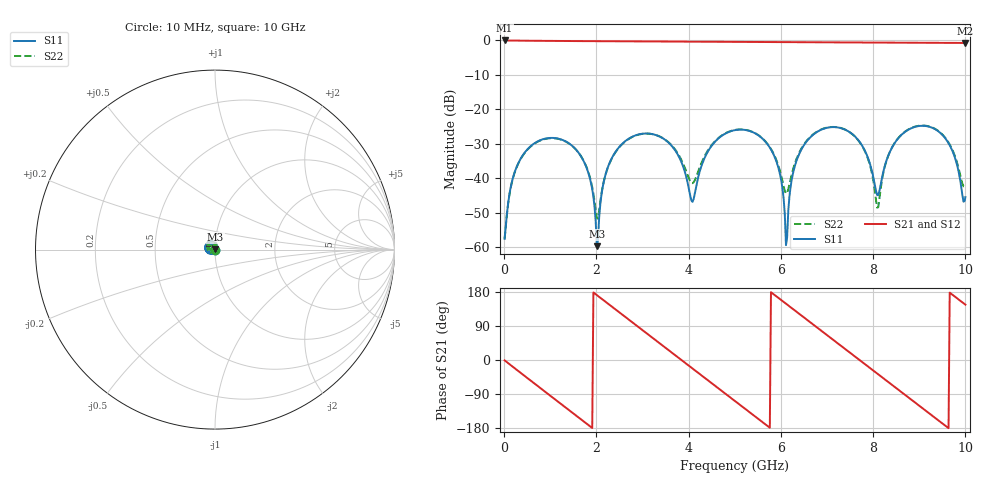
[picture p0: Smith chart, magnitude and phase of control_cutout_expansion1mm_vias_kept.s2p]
! Cutout equivalence validation - 38 mm 50 ohm symmetric stripline
! Case: Control: cutout, 1 mm expansion, stitching vias kept
! Solver: Ansys HFSS 3D Layout 2026 R1, broadband adaptive 1-5 GHz,
!  Delta S 0.02, interpolating sweep 10 MHz - 10 GHz
# GHz S MA R 50.000000
! Terminal data exported
! Port[1] = U1.PAD1.SIG
! Port[2] = U2.PAD1.SIG
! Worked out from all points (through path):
!   401 points, 10 MHz to 10 GHz, reference 50 ohm
!   highest |S21| = -0.01 dB at 10 MHz (marker M1); lowest = -0.7 dB at 10 GHz (marker M2)
!   group delay of S21, straight-line fit = 259 ps
!   lowest |S11| = -59.7 dB at 2.01 GHz (marker M3), VSWR 1.00, Z = 50.1 + j0.0618 ohm
!   |S11| at or under -10 dB: start of sweep to end of sweep
!   |S22| runs from -57.5 to -24.7 dB; largest |S21 - S12| = 2.9e-13
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0.01  0.001329 -12.1  0.9986 -1.0  0.9986 -1.0  0.001328 -12.1
0.21  0.01127 -90.5  0.9941 -20.0  0.9941 -20.0  0.01116 -91.9
0.56  0.0287 -132.3  0.9887 -53.0  0.9887 -53.0  0.0284 -135.9
1.11  0.03836 173.6  0.9821 -104.5  0.9821 -104.5  0.03801 167.6
1.685  0.01992 118.3  0.9771 -158.4  0.9771 -158.4  0.02001 114.6
2.01  0.001041 36.3  0.9744 171.2  0.9744 171.2  0.002634 148.1
2.435  0.02538 -127.3  0.9705 131.5  0.9705 131.5  0.02508 -150.0
3.36  0.04074 144.0  0.9625 45.1  0.9625 45.1  0.04083 130.0
4.085  0.004574 -12.6  0.9578 -22.6  0.9578 -22.6  0.008523 145.5
4.435  0.02569 -120.0  0.955 -55.2  0.955 -55.2  0.02658 -177.9
5.01  0.05016 -178.9  0.95 -108.9  0.95 -108.9  0.05045 140.7
5.785  0.02623 108.9  0.9455 178.9  0.9455 178.9  0.02672 80.5
6.11  0.001078 114.7  0.9436 148.6  0.9436 148.6  0.006025 122.7
6.31  0.01572 -123.7  0.9421 129.9  0.9421 129.9  0.01702 -179.6
6.685  0.04218 -156.7  0.9389 94.9  0.9389 94.9  0.04278 159.9
7.61  0.04026 121.9  0.933 8.8  0.933 8.8  0.04012 83.5
8.085  0.005766 146.9  0.9307 -35.5  0.9307 -35.5  0.003769 109.7
8.335  0.022 -147.7  0.9289 -58.8  0.9289 -58.8  0.02195 -174.9
8.81  0.05273 178.4  0.9249 -103.1  0.9249 -103.1  0.05321 150.1
9.335  0.05206 133.0  0.9218 -151.9  0.9218 -151.9  0.05258 107.6
9.71  0.02582 103.4  0.9203 173.1  0.9203 173.1  0.02667 83.8
10  0.005351 -169.3  0.9189 146.0  0.9189 146.0  0.008255 155.9
